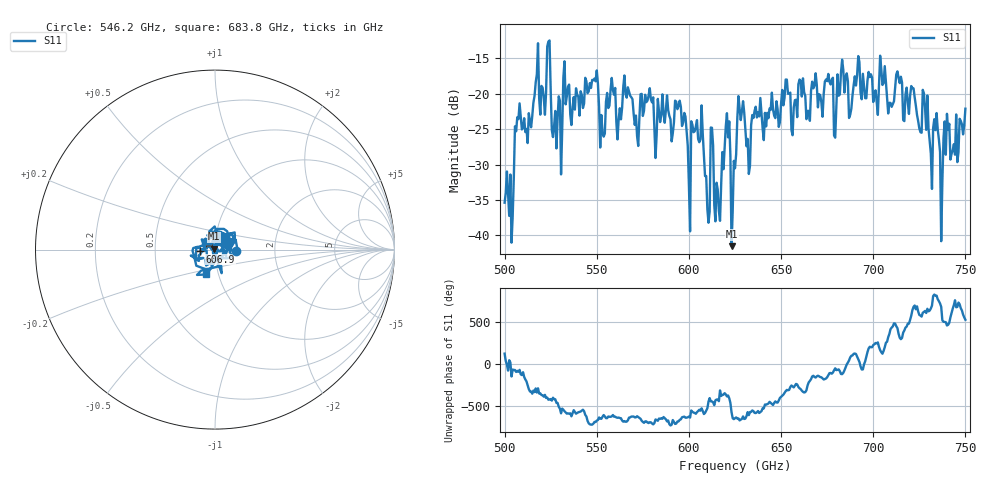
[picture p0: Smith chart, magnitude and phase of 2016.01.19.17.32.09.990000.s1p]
!Created with skrf (http://scikit-rf.org).
# GHz S RI R 50.0
!freq ReS11 ImS11
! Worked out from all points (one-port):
!   401 points, 500 GHz to 750 GHz, reference 50 ohm
!   lowest |S11| = -41.5 dB at 623.1 GHz (marker M1), VSWR 1.02, Z = 49.4 + j0.538 ohm
!   |S11| at or under -10 dB: start of sweep to end of sweep
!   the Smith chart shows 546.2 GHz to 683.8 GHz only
!   S11 on the Smith chart (normalised r, x): 546.2 GHz: 1.27, -0.02; 606.9 GHz: 0.85, -0.02; 683.8 GHz: 0.87, -0.25
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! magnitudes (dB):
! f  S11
! 500 GHz  -35.4
! 503.8 GHz  -41.0
! 506.9 GHz  -23.3
! 513.1 GHz  -22.8
! 516.9 GHz  -18.4
! 531.2 GHz  -25.1
! 546.2 GHz  -18.5
! 553.1 GHz  -25.5
! 558.8 GHz  -19.5
! 562.5 GHz  -22.1
! 593.8 GHz  -22.2
! 599.4 GHz  -27.4
! 606.9 GHz  -21.7
! 610 GHz  -36.3
! 612.5 GHz  -24.8
! 615.6 GHz  -33.5
! 620.6 GHz  -22.8
! 623.1 GHz  -41.5
! 625 GHz  -30.5
! 628.1 GHz  -23.7
! 631.9 GHz  -26.4
! 656.2 GHz  -25.9
! 683.8 GHz  -16.6
! 687.5 GHz  -23.0
! 718.8 GHz  -21.2
! 734.4 GHz  -22.8
! 736.9 GHz  -40.8
! 750 GHz  -22.1
